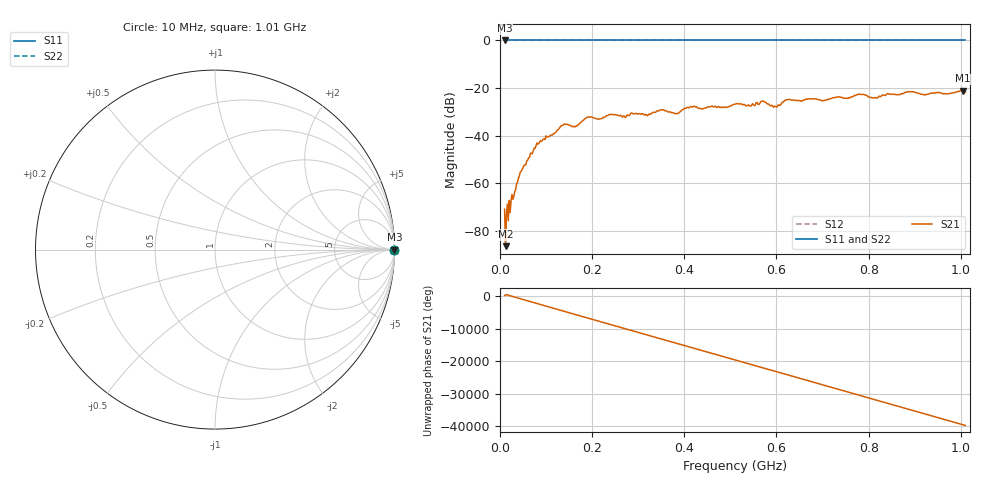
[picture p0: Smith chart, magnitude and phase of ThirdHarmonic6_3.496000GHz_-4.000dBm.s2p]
! 8/17/2025 11:24:18 AM
! C:\ANRITSUVNA\TEMP\TEMP.S2P
! CHANNEL.1
! TR.MEASUREMENT
! RAW.DATA
! RF.CORRECTION.OFF
! AVERAGING.OFF
! IF.BANDWIDTH: 5KHZ
! SWEEPTYPE:  FREQ.SWEEP(Linear)
! Reference Plane Port Info
! PORT:  PORT1  PORT2
! DISTANCE:  0  m  0  m
! TIME:  0  s  0  s
! PHASE.OFFSET:  0  deg.  0  deg.
! LOSS:  0  dB  0  dB
! REF.LOSS:  0  dB  0  dB
! REF.FREQ:  0  Hz  0  Hz
! Power Info
! POWER:  -20  dBm  -20  dBm
! EFF.POWER:  -20  dBm  -20  dBm
! SOURCE.ATTEN:  0  dB  0  dB
! TEST.ATTEN:  0  dB  0  dB
# GHZ S RI R 50.0
! FREQ.GHZ  S11RE  S11IM  S21RE  S21IM  S12RE  S12IM  S22RE  S22IM
!; PortSelection: Port_12
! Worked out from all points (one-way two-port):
!   501 points, 10 MHz to 1.01 GHz, reference 50 ohm
!   highest |S21| = -21.03 dB at 1.004 GHz (marker M1); lowest = -86.3 dB at 12 MHz (marker M2)
!   lowest |S11| = 0.0 dB at 10 MHz (marker M3)
!   |S11| at or under -10 dB: nowhere
!   |S22| runs from 0.0 to 0.0 dB; largest |S21 - S12| = 1.1
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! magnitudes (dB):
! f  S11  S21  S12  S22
! 10 MHz  0.0  -70.8  0.0  0.0
! 12 MHz  0.0  -86.3  0.0  0.0
! 16 MHz  0.0  -68.7  0.0  0.0
! 48 MHz  0.0  -54.2  0.0  0.0
! 82 MHz  0.0  -43.5  0.0  0.0
! 136 MHz  0.0  -35.7  0.0  0.0
! 162 MHz  0.0  -36.2  0.0  0.0
! 178 MHz  0.0  -33.9  0.0  0.0
! 192 MHz  0.0  -32.1  0.0  0.0
! 318 MHz  0.0  -31.3  0.0  0.0
! 344 MHz  0.0  -29.6  0.0  0.0
! 384 MHz  0.0  -30.6  0.0  0.0
! 416 MHz  0.0  -27.9  0.0  0.0
! 510 MHz  0.0  -26.7  0.0  0.0
! 570 MHz  0.0  -25.5  0.0  0.0
! 598 MHz  0.0  -27.6  0.0  0.0
! 622 MHz  0.0  -24.9  0.0  0.0
! 678 MHz  0.0  -24.5  0.0  0.0
! 814 MHz  0.0  -24.0  0.0  0.0
! 844 MHz  0.0  -22.5  0.0  0.0
! 1.004 GHz  0.0  -21.0  0.0  0.0
! 1.01 GHz  0.0  -21.7  0.0  0.0
